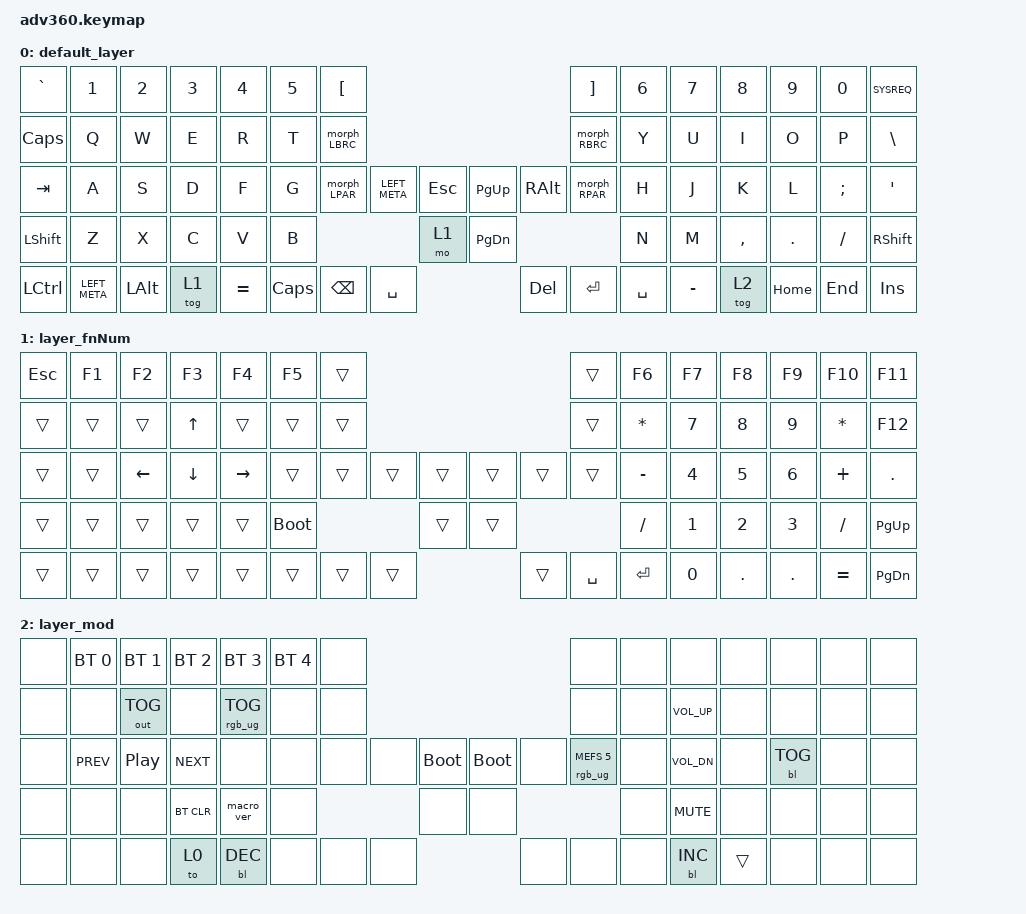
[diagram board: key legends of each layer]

/*
 * Copyright (c) 2020 The ZMK Contributors
 *
 * SPDX-License-Identifier: MIT
 */


/* THIS FILE WAS GENERATED!
 *
 * This file was generated automatically. You may or may not want to
 * edit it directly.
 */

#include <behaviors.dtsi>
#include <dt-bindings/zmk/keys.h>
#include <dt-bindings/zmk/bt.h>
#include <dt-bindings/zmk/outputs.h>
#include <dt-bindings/zmk/rgb.h>
#include <dt-bindings/zmk/backlight.h>

/ {
  behaviors {
    #include "macros.dtsi"
    #include "version.dtsi"

    hm: homerow_mods {
        compatible = "zmk,behavior-hold-tap";
        label = "HOMEROW_MODS";
        #binding-cells = <2>;
        tapping-term-ms = <200>;
        quick_tap_ms = <175>;
        flavor = "tap-preferred";
        bindings = <&kp>, <&kp>;
    };

    morph_LPAR: morph_LPAR {
        compatible = "zmk,behavior-mod-morph";
        #binding-cells = <0>;
        bindings = <&kp LPAR>, <&kp LBKT>;
        mods = <(MOD_LSFT|MOD_RSFT)>;
    };

    morph_RPAR: morph_RPAR {
        compatible = "zmk,behavior-mod-morph";
        #binding-cells = <0>;
        bindings = <&kp RPAR>, <&kp RBKT>;
        mods = <(MOD_LSFT|MOD_RSFT)>;
    };

    morph_LBRC: morph_LBRC {
        compatible = "zmk,behavior-mod-morph";
        #binding-cells = <0>;
        bindings = <&kp LBRC>, <&kp LT>;
        mods = <(MOD_LSFT|MOD_RSFT)>;
    };

    morph_RBRC: morph_RBRC {
        compatible = "zmk,behavior-mod-morph";
        #binding-cells = <0>;
        bindings = <&kp RBRC>, <&kp GT>;
        mods = <(MOD_LSFT|MOD_RSFT)>;
    };
  };

  keymap {
      compatible = "zmk,keymap";


      default_layer {
          bindings = <
&kp        GRAVE  &kp        N1  &kp       N2  &kp N3  &kp    N4  &kp N5  &kp LEFT_BRACKET                                                                                      &kp RIGHT_BRACKET  &kp N6  &kp    N7  &kp    N8  &kp   N9  &kp   N0  &kp      SYSREQ
&kp     CAPSLOCK  &kp         Q  &kp        W  &kp  E  &kp     R  &kp  T  &morph_LBRC                                                                                           &morph_RBRC        &kp  Y  &kp     U  &kp     I  &kp    O  &kp    P  &kp        BSLH
&kp          TAB  &kp         A  &kp        S  &kp  D  &kp     F  &kp  G  &morph_LPAR                      &kp LEFT_META  &kp   ESC   &kp   PAGE_UP  &kp RIGHT_ALT              &morph_RPAR        &kp  H  &kp     J  &kp     K  &kp    L  &kp SEMI  &kp         SQT
&kp        LSHFT  &kp         Z  &kp        X  &kp  C  &kp     V  &kp  B                                                  &mo     1   &kp PAGE_DOWN                                                &kp  N  &kp     M  &kp COMMA  &kp  DOT  &kp FSLH  &kp RIGHT_SHIFT
&kp LEFT_CONTROL  &kp LEFT_META  &kp LEFT_ALT  &tog 1  &kp EQUAL                            &kp  CAPSLOCK  &kp BACKSPACE  &kp SPACE   &kp       DEL  &kp     ENTER  &kp SPACE                              &kp MINUS  &tog    2  &kp HOME  &kp  END  &kp         INS
          >;
      };

      layer_fnNum {
          bindings = <
&kp ESCAPE  &kp F1  &kp   F2  &kp   F3  &kp    F4  &kp      F5  &trans                                                        &trans   &kp    F6  &kp     F7  &kp     F8  &kp    F9  &kp       F10 &kp       F11
&trans      &trans  &trans    &kp   UP  &trans     &trans       &trans                                                        &trans   &kp  STAR  &kp     N7  &kp     N8  &kp    N9  &kp  ASTERISK &kp       F12
&trans      &trans  &kp LEFT  &kp DOWN  &kp RIGHT  &trans       &trans          &trans  &trans   &trans  &trans               &trans   &kp MINUS  &kp     N4  &kp     N5  &kp    N6  &kp      PLUS &kp    PERIOD
&trans      &trans  &trans    &trans    &trans     &bootloader                          &trans   &trans                                &kp SLASH  &kp     N1  &kp     N2  &kp    N3  &kp     SLASH &kp   PAGE_UP
&trans      &trans  &trans    &trans    &trans                          &trans  &trans  &trans   &trans  &kp SPACE  &kp ENTER                     &kp     N0  &kp PERIOD  &kp PERIOD &kp     EQUAL &kp PAGE_DOWN
          >;
      };

      layer_mod {
          bindings = <
&none  &bt BT_SEL 0  &bt     BT_SEL 1  &bt BT_SEL 2  &bt    BT_SEL 3  &bt BT_SEL 4  &none                                                            &none                   &none  &none         &none   &none       &none   &none
&none  &none         &out     OUT_TOG  &none         &rgb_ug RGB_TOG  &none         &none                                                            &none                   &none  &kp C_VOL_UP  &none   &none       &none   &none
&none  &kp   C_PREV  &kp C_PLAY_PAUSE  &kp   C_NEXT  &none            &none         &none          &none  &bootloader   &bootloader  &none           &rgb_ug RGB_MEFS_CMD 5  &none  &kp C_VOL_DN  &none   &bl BL_TOG  &none   &none
&none  &none                    &none  &bt   BT_CLR  &macro_ver       &none                                     &none   &none                                                &none  &kp   C_MUTE  &none   &none       &none   &none
&none  &none                    &none  &to        0  &bl      BL_DEC                        &none  &none        &none   &none        &none  &none                                   &bl   BL_INC  &trans  &none       &none   &none
          >;
      };

  };
};
